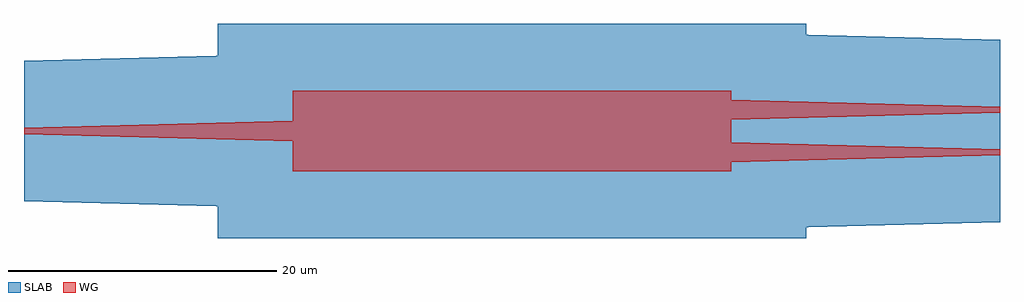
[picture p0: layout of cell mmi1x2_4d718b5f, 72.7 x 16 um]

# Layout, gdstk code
import gdstk
lib = gdstk.Library(unit=1e-6, precision=1e-09)
def R(c, l, rs):  # rectangles x0, y0, x1, y1
    for r in rs: c.add(gdstk.rectangle(r[:2], r[2:], *l))
def P(c, l, *ps):  # polygons
    for p in ps: c.add(gdstk.Polygon(p, *l))
WG = (3, 0)
SLAB = (5, 0)

mmi1x2_4d718b5f = lib.new_cell('mmi1x2_4d718b5f')
R(mmi1x2_4d718b5f, WG, [(0,-3,32.7,3)])
P(mmi1x2_4d718b5f, WG, [(-20,0.225),(0,0.75),(0,-0.75),(-20,-0.225)],
  [(52.7,1.345),(32.7,0.82),(32.7,2.32),(52.7,1.795)],
  [(52.7,-1.795),(32.7,-2.32),(32.7,-0.82),(52.7,-1.345)])
R(mmi1x2_4d718b5f, SLAB, [(-5.55,-8,38.25,8)])
P(mmi1x2_4d718b5f, SLAB, [(-20,5.225),(0,5.75),(0,-5.75),(-20,-5.225)],
  [(52.7,-3.655),(32.7,-4.18),(32.7,7.32),(52.7,6.795)],
  [(52.7,-6.795),(32.7,-7.32),(32.7,4.18),(52.7,3.655)])

lib.write_gds('mmi1x2_4d718b5f.gds')
